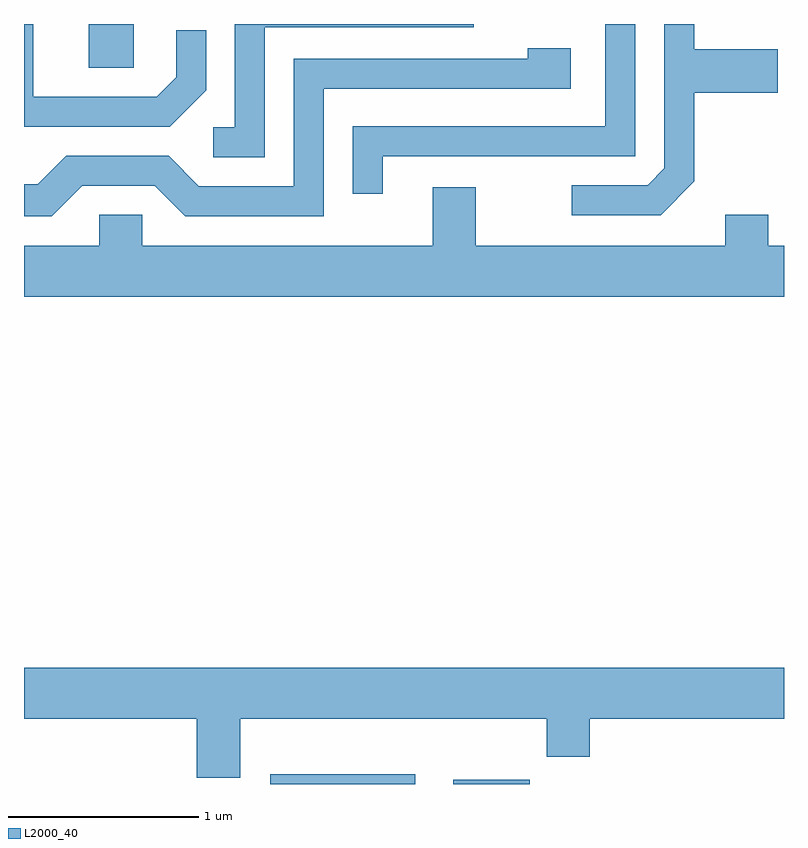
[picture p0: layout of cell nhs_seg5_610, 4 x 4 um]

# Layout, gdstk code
import gdstk
lib = gdstk.Library(unit=1e-6, precision=1e-09)
def R(c, l, rs):  # rectangles x0, y0, x1, y1
    for r in rs: c.add(gdstk.rectangle(r[:2], r[2:], *l))
def P(c, l, *ps):  # polygons
    for p in ps: c.add(gdstk.Polygon(p, *l))
L2000_40 = (2000, 40)

nhs_seg5_610 = lib.new_cell('nhs_seg5_610')
R(nhs_seg5_610, L2000_40, [(204.906,1392.072,205.669,1392.124), (205.871,1392.072,206.274,1392.094), (203.951,1395.841,204.189,1396.072)])
P(nhs_seg5_610, L2000_40, [(204.569,1395.724),(204.569,1396.038),(204.411,1396.038),(204.411,1395.792),(204.309,1395.689),(203.659,1395.689),(203.659,1396.072),(203.611,1396.072),(203.611,1395.531),(204.377,1395.531)],
  [(205.499,1395.376),(206.829,1395.376),(206.829,1396.072),(206.671,1396.072),(206.671,1395.534),(205.341,1395.534),(205.341,1395.178),(205.499,1395.178)],
  [(204.879,1396.056),(205.978,1396.056),(205.978,1396.072),(204.721,1396.072),(204.721,1395.529),(204.608,1395.529),(204.608,1395.371),(204.879,1395.371)],
  [(207.139,1395.244),(207.139,1395.711),(207.579,1395.711),(207.579,1395.939),(207.139,1395.939),(207.139,1396.072),(206.981,1396.072),(206.981,1395.312),(206.894,1395.224),(206.493,1395.224),(206.493,1395.066),(206.962,1395.066)],
  [(203.917,1395.221),(204.299,1395.221),(204.459,1395.061),(205.189,1395.061),(205.189,1395.731),(206.489,1395.731),(206.489,1395.944),(206.261,1395.944),(206.261,1395.889),(205.031,1395.889),(205.031,1395.219),(204.532,1395.219),(204.372,1395.379),(203.834,1395.379),(203.684,1395.229),(203.611,1395.229),(203.611,1395.061),(203.757,1395.061)],
  [(207.611,1394.904),(207.529,1394.904),(207.529,1395.069),(207.301,1395.069),(207.301,1394.904),(205.989,1394.904),(205.989,1395.214),(205.761,1395.214),(205.761,1394.904),(204.234,1394.904),(204.234,1395.069),(204.006,1395.069),(204.006,1394.904),(203.611,1394.904),(203.611,1394.636),(207.611,1394.636)],
  [(204.749,1392.416),(206.361,1392.416),(206.361,1392.216),(206.589,1392.216),(206.589,1392.416),(207.611,1392.416),(207.611,1392.684),(203.611,1392.684),(203.611,1392.416),(204.521,1392.416),(204.521,1392.106),(204.749,1392.106)])

lib.write_gds('nhs_seg5_610.gds')
